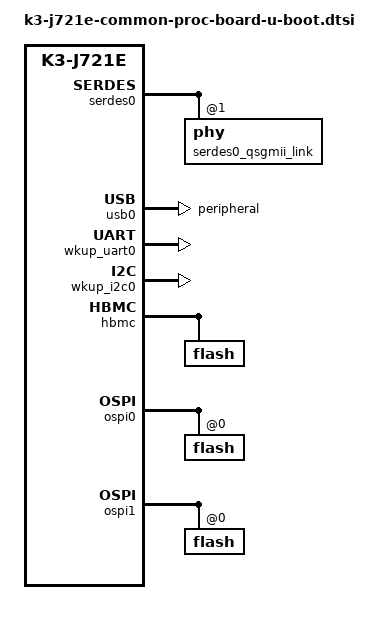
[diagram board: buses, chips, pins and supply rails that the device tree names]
// SPDX-License-Identifier: GPL-2.0
/*
 * Copyright (C) 2018 Texas Instruments Incorporated - https://www.ti.com/
 */

#include "k3-j721e-binman.dtsi"

&cbass_main {
	bootph-all;
};

&main_navss {
	bootph-all;
};

&cbass_mcu_wakeup {
	bootph-all;

	chipid@43000014 {
		bootph-all;
	};
};

&mcu_navss {
	bootph-all;
};

&mcu_ringacc {
	bootph-all;
};

&mcu_udmap {
	reg =	<0x0 0x285c0000 0x0 0x100>,
		<0x0 0x284c0000 0x0 0x4000>,
		<0x0 0x2a800000 0x0 0x40000>,
		<0x0 0x284a0000 0x0 0x4000>,
		<0x0 0x2aa00000 0x0 0x40000>,
		<0x0 0x28400000 0x0 0x2000>;
	reg-names = "gcfg", "rchan", "rchanrt", "tchan",
		    "tchanrt", "rflow";
	bootph-all;
};

&secure_proxy_main {
	bootph-all;
};

&dmsc {
	bootph-all;
};

&k3_pds {
	bootph-all;
};

&k3_clks {
	bootph-all;
};

&k3_reset {
	bootph-all;
};

&wkup_pmx0 {
	bootph-all;
};

&main_pmx0 {
	bootph-all;
};

&main_uart0 {
	bootph-all;
};

&mcu_uart0 {
	bootph-all;
};

&main_sdhci0 {
	bootph-all;
};

&main_sdhci1 {
	bootph-all;
};

&main_uart0_pins_default {
	bootph-all;
};

&serdes_ln_ctrl {
	compatible = "mmio-mux";
	idle-states = <J721E_SERDES0_LANE0_PCIE0_LANE0>, <J721E_SERDES0_LANE1_QSGMII_LANE2>,
		      <J721E_SERDES1_LANE0_PCIE1_LANE0>, <J721E_SERDES1_LANE1_PCIE1_LANE1>,
		      <J721E_SERDES2_LANE0_PCIE2_LANE0>, <J721E_SERDES2_LANE1_PCIE2_LANE1>,
		      <J721E_SERDES3_LANE0_USB3_0_SWAP>, <J721E_SERDES3_LANE1_USB3_0>,
		      <J721E_SERDES4_LANE0_EDP_LANE0>, <J721E_SERDES4_LANE1_EDP_LANE1>,
		      <J721E_SERDES4_LANE2_EDP_LANE2>, <J721E_SERDES4_LANE3_EDP_LANE3>;
	u-boot,mux-autoprobe;
	mux-reg-masks = <0x4080 0x3>, <0x4084 0x3>, /* SERDES0 lane0/1 select */
			<0x4090 0x3>, <0x4094 0x3>, /* SERDES1 lane0/1 select */
			<0x40a0 0x3>, <0x40a4 0x3>, /* SERDES2 lane0/1 select */
			<0x40b0 0x3>, <0x40b4 0x3>, /* SERDES3 lane0/1 select */
			<0x40c0 0x3>, <0x40c4 0x3>, <0x40c8 0x3>, <0x40cc 0x3>;
			/* SERDES4 lane0/1/2/3 select */
};

&usb_serdes_mux {
	compatible = "mmio-mux";
	u-boot,mux-autoprobe;
	mux-reg-masks = <0x4000 0x8000000>, /* USB0 to SERDES0/3 mux */
			<0x4010 0x8000000>; /* USB1 to SERDES1/2 mux */
};

&wiz0_pll1_refclk {
	assigned-clocks = <&wiz0_pll1_refclk>;
	assigned-clock-parents = <&cmn_refclk1>;
	bootph-all;
};

&wiz0_refclk_dig {
	assigned-clocks = <&wiz0_refclk_dig>;
	assigned-clock-parents = <&cmn_refclk1>;
	bootph-all;
};

&serdes0 {
	/*
	 * Since the PLL_CMNLC and PLL_CMNLC1 clocks are modelled as child
	 * clocks of SERDES0 in the Sierra SERDES driver, move them to the
	 * child nodes serdes0_pcie_link and serdes0_qsgmii_link.
	 */
	/delete-property/ assigned-clocks;
	/delete-property/ assigned-clock-parents;

	serdes0_qsgmii_link: phy@1 {
		reg = <1>;
		cdns,num-lanes = <1>;
		#phy-cells = <0>;
		cdns,phy-type = <PHY_TYPE_QSGMII>;
		resets = <&serdes_wiz0 2>;
		assigned-clocks = <&serdes0 CDNS_SIERRA_PLL_CMNLC1>;
		assigned-clock-parents = <&wiz0_pll1_refclk>;
		bootph-all;
	};
};

&serdes0_pcie_link {
	assigned-clocks = <&serdes0 CDNS_SIERRA_PLL_CMNLC>;
	assigned-clock-parents = <&wiz0_pll1_refclk>;
	bootph-all;
};

&main_usbss0_pins_default {
	bootph-all;
};

&usbss0 {
	bootph-all;
};

&usb0 {
	dr_mode = "peripheral";
	bootph-all;
};

&main_mmc1_pins_default {
	bootph-all;
};

&wkup_i2c0_pins_default {
	bootph-all;
};

&wkup_uart0 {
	bootph-all;
	status = "okay";
};

&wkup_i2c0 {
	bootph-all;
	status = "okay";
};

&main_i2c0 {
	bootph-all;
};

&main_i2c0_pins_default {
	bootph-all;
};

&main_esm {
	bootph-all;
};

&exp2 {
	bootph-all;
};

&mcu_fss0_ospi0_pins_default {
	bootph-all;
};

&fss {
	compatible = "syscon", "simple-mfd";
	bootph-all;
};

&wkup_gpio0 {
	bootph-all;
};

&hbmc {
	bootph-all;
	flash@0,0 {
		bootph-all;
	};
};

&hbmc_mux {
	compatible = "mmio-mux";
	bootph-all;
};

&ospi0 {
	bootph-all;

	flash@0 {
		cdns,phy-mode;
		bootph-all;
	};
};

&ospi1 {
	bootph-all;

	flash@0 {
		cdns,phy-mode;
		bootph-all;
	};
};

&mcu_fss0_hpb0_pins_default {
	bootph-all;
};

&wkup_gpio_pins_default {
	bootph-all;
};

&mcu_fss0_ospi1_pins_default {
	bootph-all;
};

/* Required for USB DFU Boot */
&serdes3_usb_link {
	bootph-all;
};
